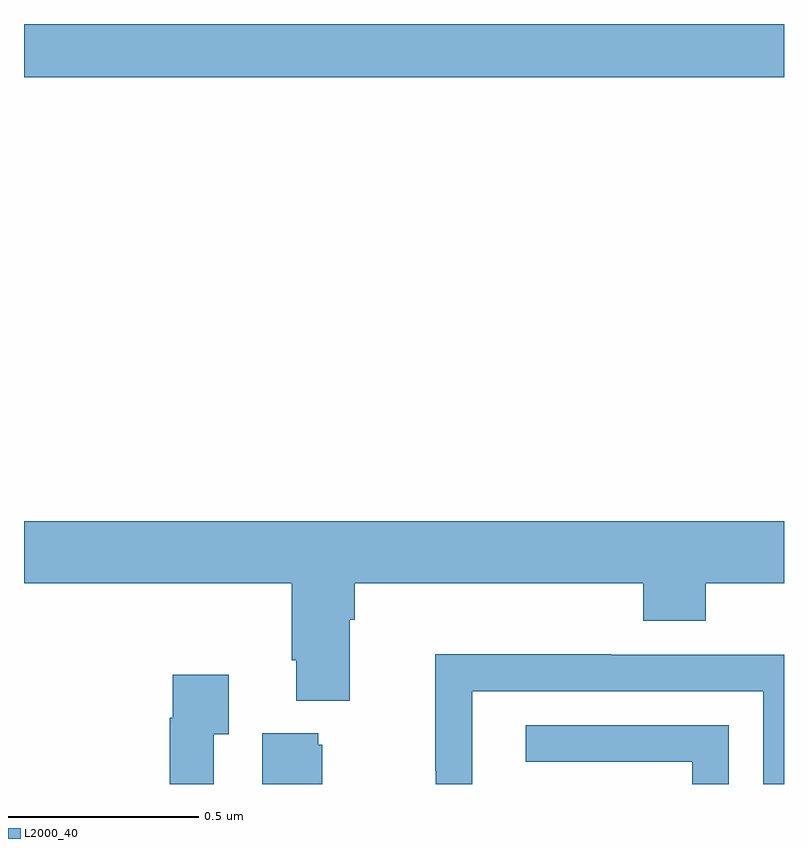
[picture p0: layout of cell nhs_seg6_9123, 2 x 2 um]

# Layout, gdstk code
import gdstk
lib = gdstk.Library(unit=1e-6, precision=1e-09)
def R(c, l, rs):  # rectangles x0, y0, x1, y1
    for r in rs: c.add(gdstk.rectangle(r[:2], r[2:], *l))
def P(c, l, *ps):  # polygons
    for p in ps: c.add(gdstk.Polygon(p, *l))
L2000_40 = (2000, 40)

nhs_seg6_9123 = lib.new_cell('nhs_seg6_9123')
R(nhs_seg6_9123, L2000_40, [(230,923.36,232,923.5)])
P(nhs_seg6_9123, L2000_40, [(230,922.028),(230.705,922.028),(230.705,921.826),(230.717,921.826),(230.717,921.719),(230.857,921.719),(230.857,921.932),(230.87,921.932),(230.87,922.028),(231.629,922.028),(231.629,921.929),(231.794,921.929),(231.794,922.028),(232,922.028),(232,922.192),(230,922.192)],
  [(231.18,921.744),(231.945,921.744),(231.945,921.5),(232,921.5),(232,921.84),(231.545,921.84),(231.545,921.842),(231.082,921.842),(231.082,921.535),(231.084,921.535),(231.084,921.5),(231.18,921.5)],
  [(230.499,921.631),(230.539,921.631),(230.539,921.787),(230.391,921.787),(230.391,921.674),(230.383,921.674),(230.383,921.5),(230.499,921.5)],
  [(231.855,921.654),(231.321,921.654),(231.321,921.558),(231.759,921.558),(231.759,921.5),(231.855,921.5)],
  [(230.785,921.603),(230.774,921.603),(230.774,921.634),(230.627,921.634),(230.627,921.5),(230.785,921.5)])

lib.write_gds('nhs_seg6_9123.gds')
